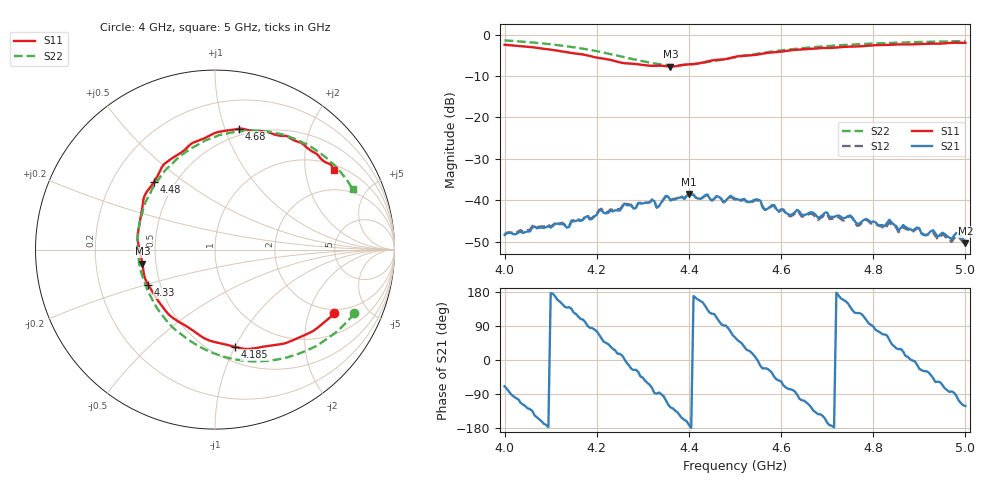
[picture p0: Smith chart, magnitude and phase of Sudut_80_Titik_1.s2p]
# Hz S RI R 50
! CMT, C1220, 16058040, 17.2.0/1
! Date: 15/08/2018 11:32:00
! Data: Format (Calibration Info)
! Freq  S11: Re/Im (F2)  S21: Re/Im (F2)  S12: Re/Im (F2)  S22: Re/Im (F2)
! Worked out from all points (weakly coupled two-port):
!   201 points, 4 GHz to 5 GHz, reference 50 ohm
!   highest |S21| = -38.49 dB at 4.4 GHz (marker M1); lowest = -50.4 dB at 5 GHz (marker M2)
!   lowest |S11| = -7.7 dB at 4.36 GHz (marker M3), VSWR 2.40, Z = 21 - j3.95 ohm
!   |S11| at or under -10 dB: nowhere
!   |S22| runs from -7.4 to -1.4 dB; largest |S21 - S12| = 0.00045
!   S11 on the Smith chart (normalised r, x): 4 GHz: 1.81, -2.99; 4.185 GHz: 0.64, -1.00; 4.33 GHz: 0.43, -0.21; 4.48 GHz: 0.38, +0.39; 4.68 GHz: 0.44, +1.12; 5 GHz: 1.17, +2.85
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4e9  0.6658 -0.3557  0.00134 -0.00357  0.00149 -0.0036  0.7747 -0.3551
4.17e9  0.1637 -0.5532  -0.00166 0.00556  -0.0018 0.00557  0.2732 -0.6208
4.185e9  0.1105 -0.5424  0.000483 0.00582  0.000402 0.00603  0.2087 -0.6226
4.26e9  -0.1735 -0.4183  0.00912 0.000318  0.00939 0.000219  -0.1173 -0.5221
4.28e9  -0.2482 -0.37  0.00708 -0.00354  0.00707 -0.00368  -0.1974 -0.4643
4.32e9  -0.3506 -0.2317  0.00275 -0.00969  0.0027 -0.00988  -0.3314 -0.3118
4.33e9  -0.3718 -0.1976  0.000149 -0.0081  2.05e-06 -0.00817  -0.3546 -0.2692
4.335e9  -0.3819 -0.1801  0.000616 -0.00845  0.000435 -0.00845  -0.3664 -0.2463
4.35e9  -0.3984 -0.1207  -0.00314 -0.0108  -0.00311 -0.0107  -0.3954 -0.1729
4.36e9  -0.4043 -0.0781  -0.00573 -0.00812  -0.00574 -0.00818  -0.4119 -0.1266
4.4e9  -0.4301 0.0886  -0.0118 -0.00178  -0.0119 -0.00153  -0.4297 0.0748
4.48e9  -0.3402 0.3765  -0.000162 0.00994  0.000191 0.00974  -0.301 0.4113
4.5e9  -0.3026 0.4459  0.00525 0.00901  0.00522 0.00871  -0.2459 0.4724
4.67e9  0.1143 0.6696  -0.00483 -0.00513  -0.00467 -0.00471  0.2477 0.6628
4.68e9  0.1331 0.6739  -0.00488 -0.00371  -0.00463 -0.00344  0.2726 0.6598
4.75e9  0.2889 0.6567  -0.005 0.0042  -0.00495 0.00405  0.4337 0.6206
4.765e9  0.3214 0.6446  -0.00288 0.00427  -0.00272 0.00408  0.4629 0.6096
4.825e9  0.4271 0.6161  0.00187 0.0045  0.00186 0.0041  0.5688 0.5497
4.835e9  0.4457 0.6067  0.00344 0.00467  0.00312 0.00439  0.5835 0.5386
4.855e9  0.4778 0.5958  0.00379 0.00207  0.00358 0.00198  0.6134 0.5162
4.985e9  0.6489 0.4672  -0.00109 -0.00386  -0.000949 -0.00352  0.7549 0.3554
5e9  0.6616 0.444  -0.00158 -0.00258  -0.00129 -0.00247  0.7687 0.3357
